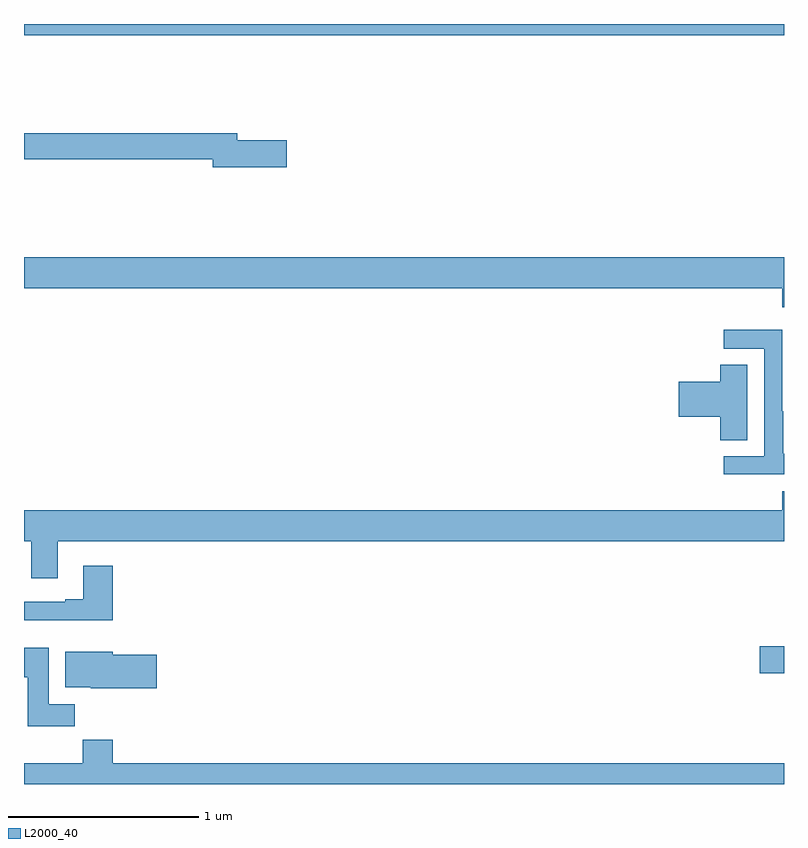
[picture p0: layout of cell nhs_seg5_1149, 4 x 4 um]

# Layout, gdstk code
import gdstk
lib = gdstk.Library(unit=1e-6, precision=1e-09)
def R(c, l, rs):  # rectangles x0, y0, x1, y1
    for r in rs: c.add(gdstk.rectangle(r[:2], r[2:], *l))
def P(c, l, *ps):  # polygons
    for p in ps: c.add(gdstk.Polygon(p, *l))
L2000_40 = (2000, 40)

nhs_seg5_1149 = lib.new_cell('nhs_seg5_1149')
R(nhs_seg5_1149, L2000_40, [(184.872,873.382,185,873.524), (181,876.74,185,876.799)])
P(nhs_seg5_1149, L2000_40, [(182.383,876.188),(182.122,876.188),(182.122,876.224),(181,876.224),(181,876.088),(181.994,876.088),(181.994,876.046),(182.383,876.046)],
  [(185,875.572),(181,875.572),(181,875.408),(184.991,875.408),(184.991,875.309),(185,875.309)],
  [(185,874.537),(184.995,874.537),(184.995,874.76),(184.992,874.76),(184.992,875.19),(184.683,875.19),(184.683,875.091),(184.896,875.091),(184.896,874.524),(184.683,874.524),(184.683,874.428),(185,874.428)],
  [(184.807,875.006),(184.664,875.006),(184.664,874.916),(184.446,874.916),(184.446,874.733),(184.664,874.733),(184.664,874.609),(184.807,874.609)],
  [(181.177,874.076),(185,874.076),(185,874.339),(184.991,874.339),(184.991,874.24),(181,874.24),(181,874.076),(181.037,874.076),(181.037,873.882),(181.177,873.882)],
  [(181.466,873.949),(181.313,873.949),(181.313,873.772),(181.217,873.772),(181.217,873.759),(181,873.759),(181,873.662),(181.466,873.662)],
  [(181.268,873.22),(181.129,873.22),(181.129,873.517),(181,873.517),(181,873.361),(181.019,873.361),(181.019,873.102),(181.268,873.102)],
  [(181.699,873.479),(181.468,873.479),(181.468,873.496),(181.217,873.496),(181.217,873.308),(181.35,873.308),(181.35,873.302),(181.699,873.302)],
  [(185,872.908),(181.466,872.908),(181.466,873.032),(181.309,873.032),(181.309,872.908),(181,872.908),(181,872.799),(185,872.799)])

lib.write_gds('nhs_seg5_1149.gds')
